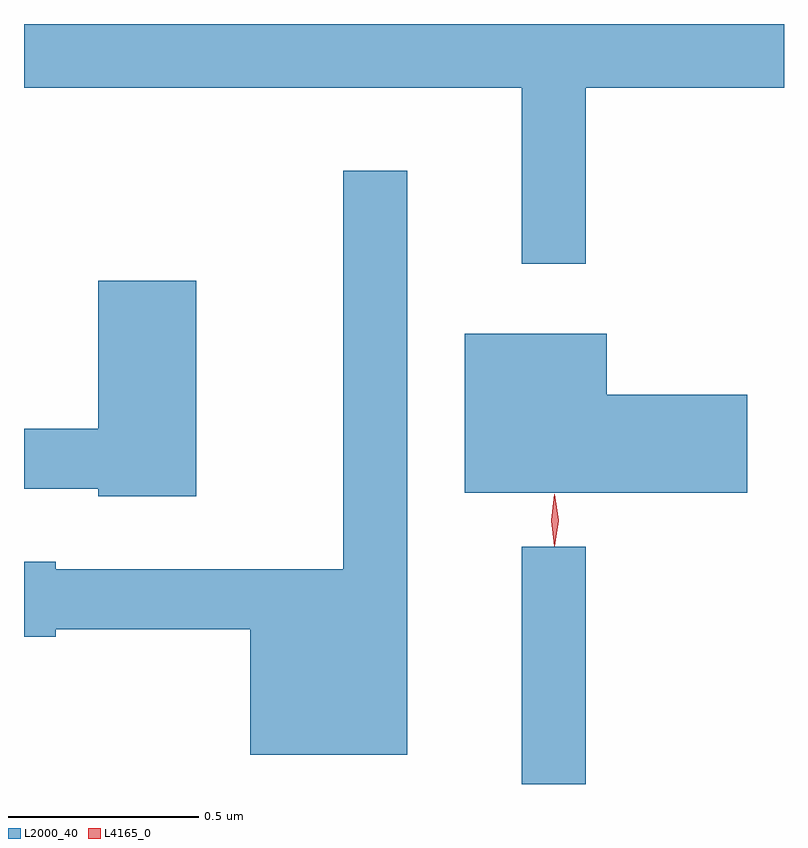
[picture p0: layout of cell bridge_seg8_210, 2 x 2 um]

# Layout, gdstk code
import gdstk
lib = gdstk.Library(unit=1e-6, precision=1e-09)
def R(c, l, rs):  # rectangles x0, y0, x1, y1
    for r in rs: c.add(gdstk.rectangle(r[:2], r[2:], *l))
def P(c, l, *ps):  # polygons
    for p in ps: c.add(gdstk.Polygon(p, *l))
L2000_40 = (2000, 40)
L4165_0 = (4165, 0)

bridge_seg8_210 = lib.new_cell('bridge_seg8_210')
R(bridge_seg8_210, L2000_40, [(1215.751,1905.624,1215.919,1906.248)])
P(bridge_seg8_210, L2000_40, [(1215.919,1907.456),(1216.441,1907.456),(1216.441,1907.624),(1214.441,1907.624),(1214.441,1907.456),(1215.751,1907.456),(1215.751,1906.993),(1215.919,1906.993)],
  [(1215.449,1907.238),(1215.281,1907.238),(1215.281,1906.189),(1214.524,1906.189),(1214.524,1906.209),(1214.441,1906.209),(1214.441,1906.011),(1214.524,1906.011),(1214.524,1906.031),(1215.036,1906.031),(1215.036,1905.701),(1215.449,1905.701)],
  [(1214.894,1906.949),(1214.636,1906.949),(1214.636,1906.559),(1214.441,1906.559),(1214.441,1906.401),(1214.636,1906.401),(1214.636,1906.381),(1214.894,1906.381)],
  [(1216.344,1906.649),(1215.974,1906.649),(1215.974,1906.809),(1215.601,1906.809),(1215.601,1906.391),(1216.344,1906.391)])
P(bridge_seg8_210, L4165_0, [(1215.837,1906.253),(1215.828,1906.316),(1215.837,1906.379),(1215.838,1906.38),(1215.838,1906.379),(1215.848,1906.316),(1215.838,1906.253),(1215.838,1906.253)],
  [(1215.837,1906.25),(1215.828,1906.318),(1215.837,1906.386),(1215.838,1906.386),(1215.838,1906.386),(1215.848,1906.318),(1215.838,1906.25),(1215.838,1906.25)])

lib.write_gds('bridge_seg8_210.gds')
